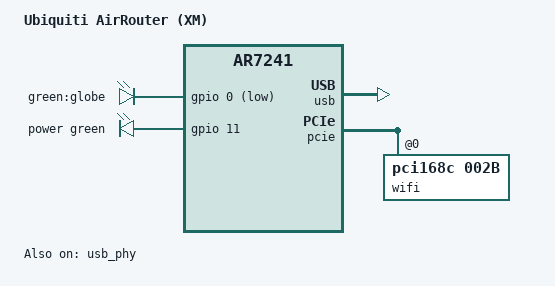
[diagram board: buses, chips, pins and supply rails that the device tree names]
// SPDX-License-Identifier: GPL-2.0-or-later OR MIT

#include <dt-bindings/leds/common.h>

#include "ar7241.dtsi"
#include "ar724x_ubnt_xm.dtsi"

/ {
	compatible = "ubnt,airrouter", "ubnt,xm", "qca,ar7241";
	model = "Ubiquiti AirRouter (XM)";

	aliases {
		led-boot = &led_globe;
		led-failsafe = &led_globe;
		led-running = &led_globe;
		led-upgrade = &led_globe;
		label-mac-device = &wifi;
	};

	leds {
		compatible = "gpio-leds";

		led_globe: globe {
			label = "green:globe";
			gpios = <&gpio 0 GPIO_ACTIVE_LOW>;
		};

		power {
			function = LED_FUNCTION_POWER;
			color = <LED_COLOR_ID_GREEN>;
			gpios = <&gpio 11 GPIO_ACTIVE_HIGH>;
		};
	};
};

&art {
	cal_art_1000: calibration@1000 {
		reg = <0x1000 0x200>;
	};
};

&usb_phy {
	status = "okay";
};

&usb {
	status = "okay";
};

&pcie {
	wifi: wifi@0,0 {
		compatible = "pci168c,002b";
		reg = <0x0000 0 0 0 0>;
		nvmem-cells = <&cal_art_1000>;
		nvmem-cell-names = "calibration";
	};
};
